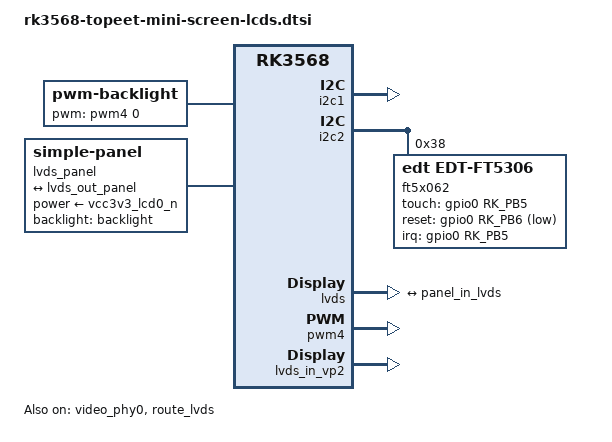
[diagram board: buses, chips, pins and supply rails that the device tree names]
#define LCD_TYPE_MIPI       //in vp 1
//#define LCD_TYPE_LVDS_10_1_1024X600  //in vp 2
//#define LCD_TYPE_LVDS_10_1_1280X800_gt9271 //in vp 2
#define LCD_TYPE_LVDS_7_0   //in vp 2
//#define LCD_TYPE_EDP_VGA  //in vp 0
#define LCD_TYPE_HDMI_VP0   //hdmi in vp 0
//#define LCD_TYPE_HDMI_VP1   //hdmi in vp 1


/ { 
        backlight: backlight {
                compatible = "pwm-backlight";
                brightness-levels = <
                          0  20  20  21  21  22  22  23
                         23  24  24  25  25  26  26  27
                         27  28  28  29  29  30  30  31
                         31  32  32  33  33  34  34  35
                         35  36  36  37  37  38  38  39
                         40  41  42  43  44  45  46  47
                         48  49  50  51  52  53  54  55
                         56  57  58  59  60  61  62  63
                         64  65  66  67  68  69  70  71
                         72  73  74  75  76  77  78  79
                         80  81  82  83  84  85  86  87
                         88  89  90  91  92  93  94  95
                         96  97  98  99 100 101 102 103
                        104 105 106 107 108 109 110 111
                        112 113 114 115 116 117 118 119
                        120 121 122 123 124 125 126 127
                        128 129 130 131 132 133 134 135
                        136 137 138 139 140 141 142 143
                        144 145 146 147 148 149 150 151
                        152 153 154 155 156 157 158 159
                        160 161 162 163 164 165 166 167
                        168 169 170 171 172 173 174 175
                        176 177 178 179 180 181 182 183
                        184 185 186 187 188 189 190 191
                        192 193 194 195 196 197 198 199
                        200 201 202 203 204 205 206 207
                        208 209 210 211 212 213 214 215
                        216 217 218 219 220 221 222 223
                        224 225 226 227 228 229 230 231
                        232 233 234 235 236 237 238 239
                        240 241 242 243 244 245 246 247
                        248 249 250 251 252 253 254 255
                >;
                default-brightness-level = <200>;
        };

   lvds_panel: panel {
		compatible = "simple-panel";
		status = "disabled";
		backlight = <&backlight>;
		power-supply = <&vcc3v3_lcd0_n>;
		enable-delay-ms = <20>;
		prepare-delay-ms = <20>;
		unprepare-delay-ms = <20>;
		disable-delay-ms = <20>;  		
		width-mm = <217>;
		height-mm = <136>;
    };
};

&i2c1 {
    status = "okay";
	ft5x061:ft5x06@38 {
				status = "disabled";
				compatible = "edt,edt-ft5306";
				reg = <0x38>;
				touch-gpio = <&gpio0 RK_PB5 IRQ_TYPE_EDGE_RISING>;
				interrupt-parent = <&gpio0>;
				interrupts = <RK_PB5 IRQ_TYPE_LEVEL_LOW>;
				reset-gpio = <&gpio0 RK_PB6 GPIO_ACTIVE_LOW>;
				touchscreen-size-x = <800>;
				touchscreen-size-y = <1280>;
              
    };
};

&i2c2 {
    status = "okay";
    pinctrl-0 = <&i2c2m1_xfer>;
	ft5x062:ft5x06@38 {
				status = "disabled";
				compatible = "edt,edt-ft5306";
				reg = <0x38>;
				touch-gpio = <&gpio0 RK_PB5 IRQ_TYPE_EDGE_RISING>;
				interrupt-parent = <&gpio0>;
				interrupts = <RK_PB5 IRQ_TYPE_LEVEL_LOW>;
				reset-gpio = <&gpio0 RK_PB6 GPIO_ACTIVE_LOW>;
				touchscreen-size-x = <800>;
				touchscreen-size-y = <1280>;
               
    };

	gt9xx:gt9xx_ts@5d {
                compatible = "goodix,gt9xx";
                reg = <0x5d>;
                interrupt-parent = <&gpio0>;
                interrupts = <RK_PB5 IRQ_TYPE_LEVEL_LOW>;
			    pinctrl-names = "default";
        		pinctrl-0 = <&gt9xx_pins>;
                reset-gpio = <&gpio0 RK_PB6 GPIO_ACTIVE_LOW>;
                touch-gpio = <&gpio0 RK_PB5 IRQ_TYPE_EDGE_RISING>;
                status = "disabled";
                tp-size = <911>;
                max-x = <1024>;
                max-y = <600>;

        };

	gt9271:gt9271_ts@5d {

                compatible = "goodix,gt9271";
                reg = <0x5d>;
                interrupt-parent = <&gpio0>;
                interrupts = <RK_PB5 IRQ_TYPE_LEVEL_LOW>;
                pinctrl-names = "default";
                pinctrl-0 = <&gt9xx_pins>;
                reset-gpio = <&gpio0 RK_PB6 GPIO_ACTIVE_LOW>;
                touch-gpio = <&gpio0 RK_PB5 IRQ_TYPE_EDGE_RISING>;
                status = "disabled";
				tp-size = <9271>;
			    max-x = <1280>;
  			    max-y = <800>;
        };


};

&pinctrl {
	gt9xx {
		gt9xx_pins: gt9xx-pins {
			rockchip,pins =
				<0 RK_PB5 0 &pcfg_pull_up>,
                <0 RK_PB6 0 &pcfg_pull_none>;
		};
	};
};


#if  defined(LCD_TYPE_LVDS_7_0)
&lvds_panel{
	status = "okay";
        bus-format = <MEDIA_BUS_FMT_RGB666_1X7X3_SPWG>;
        display-timings {
            native-mode = <&lvds_timing0>;
            lvds_timing0: lvds-timing0 {
                clock-frequency = <71900000>;
                hactive = <800>;
                vactive = <1280>;
                hback-porch = <24>;//<100>;
                hfront-porch = <72>;//<1580>;
                vback-porch = <10>;//<25>;
                vfront-porch = <12>;//<10>;
                hsync-len = <24>;//<10>;
                vsync-len = <2>;//<4>;
                hsync-active = <0>;
                vsync-active = <0>;
                de-active = <0>;
                pixelclk-active = <0>;
            };
        };
        ports {
			#address-cells = <1>;
			#size-cells = <0>;
			port@0 {
				reg = <0>;
				dual-lvds-even-pixels;
				panel_in_lvds: endpoint {
					remote-endpoint = <&lvds_out_panel>;
				};
			};
		};
};
&lvds {
	status = "disabled";
    
	ports {
		port@1 {
			reg = <1>;
			lvds_out_panel: endpoint {
				remote-endpoint = <&panel_in_lvds>;
			};
		};
	};
};

&pwm4{
    status = "okay";
};

&backlight {
    status = "okay";
    pwms = <&pwm4 0 25000 0>;
};

&lvds {
    status = "okay";
};

&lvds_in_vp1{
    status = "disabled";
};
&lvds_in_vp2 {
	status = "okay";
};
&video_phy0{
    status="okay";
};
&route_lvds{
   // logo,rotate = <0>;
    status = "okay";
    connect = <&vp2_out_lvds>;
};

&ft5x062
{
    status = "okay";
};

#elif defined(LCD_TYPE_LVDS_10_1_1024X600) 
&lvds_panel {
	status = "okay";
        bus-format = <MEDIA_BUS_FMT_RGB666_1X7X3_SPWG>;
        display-timings { 
			native-mode = <&lvds_timing0>; 
			lvds_timing0: lvds-timing0 { 
				clock-frequency = <53000000>; 
				hactive = <1024>; 
				vactive = <600>; 
				hback-porch = <160>;//<100>; 
				hfront-porch = <24>;//<1580>; 
				vback-porch = <24>;//<25>; 
				vfront-porch = <2>;//<10>; 
				hsync-len = <116>;//<10>; DRM_PANEL_SIMPLE
                vsync-len = <3>;
                hsync-active = <0>;
				vsync-active = <0>;
				de-active = <0>;
				pixelclk-active = <0>;
				}; 
		}; 
        ports {
			#address-cells = <1>;
			#size-cells = <0>;
			port@0 {
				reg = <0>;
				dual-lvds-even-pixels;
				panel_in_lvds: endpoint {
					remote-endpoint = <&lvds_out_panel>;
				};
			};
		};
};
&lvds {
	status = "disabled";
    
	ports {
		port@1 {
			reg = <1>;
			lvds_out_panel: endpoint {
				remote-endpoint = <&panel_in_lvds>;
			};
		};
	};
};
&pwm4{
    status = "okay";
};

&backlight {
    status = "okay";
    pwms = <&pwm4 0 25000 0>;
};
&lvds {
    status = "okay";
};

&lvds_in_vp1{
    status = "disabled";
};

&lvds_in_vp2 {
	status = "okay";
};

&video_phy0{
    status="okay";
};

&route_lvds{
   // logo,rotate = <0>;
    status = "okay";
    connect = <&vp2_out_lvds>;
};

&gt9xx
{
    status = "okay";
};
#elif defined(LCD_TYPE_LVDS_10_1_1280X800_gt9271)
&lvds_panel {
	status = "okay";
        bus-format = <MEDIA_BUS_FMT_RGB888_1X7X4_SPWG>;
          display-timings { 
			native-mode = <&lvds_timing0>; 
			lvds_timing0: lvds-timing0 { 
				clock-frequency = <82421000>; 
				hactive = <1280>; 
				vactive = <800>; 
				hback-porch = <88>;//<100>; 
				hfront-porch = <132>;//<1580>; 
				vback-porch = <23>;//<25>; 
				vfront-porch = <49>;//<10>; 
				hsync-len = <40>;//<10>; DRM_PANEL_SIMPLE
                vsync-len = <20>;
                hsync-active = <0>;
				vsync-active = <0>;
				de-active = <0>;
				pixelclk-active = <0>;
				}; 
		}; 
        ports {
			#address-cells = <1>;
			#size-cells = <0>;
			port@0 {
				reg = <0>;
				dual-lvds-even-pixels;
				panel_in_lvds: endpoint {
					remote-endpoint = <&lvds_out_panel>;
				};
			};
		};
};
&lvds {
	status = "disabled";
    
	ports {
		port@1 {
			reg = <1>;
			lvds_out_panel: endpoint {
				remote-endpoint = <&panel_in_lvds>;
			};
		};
	};
};

&pwm4{
    status = "okay";
};

&backlight {
    status = "okay";
    pwms = <&pwm4 0 25000 0>;
};

&lvds {
    status = "okay";
};

&lvds_in_vp1{
    status = "disabled";
};
&lvds_in_vp2 {
	status = "okay";
};
&video_phy0{
    status="okay";
};
&route_lvds{
   // logo,rotate = <0>;
    status = "okay";
    connect = <&vp2_out_lvds>;
};

&gt9271
{
    status = "okay";
};
#elif defined(LCD_TYPE_MIPI)
&dsi1 {
        status = "disabled";
        //rockchip,lane-rate = <1000>;
        dsi1_panel: panel@0 {
                status = "disabled";
                compatible = "simple-panel-dsi";
                power-supply = <&vcc3v3_lcd0_n>;
                reg = <0>;
                backlight = <&backlight>;
                reset-delay-ms = <60>;
                enable-delay-ms = <60>;
                prepare-delay-ms = <60>;
                unprepare-delay-ms = <60>;
                disable-delay-ms = <60>;
                dsi,flags = <(MIPI_DSI_MODE_VIDEO | MIPI_DSI_MODE_VIDEO_BURST |
                        MIPI_DSI_MODE_LPM | MIPI_DSI_MODE_EOT_PACKET)>;
                dsi,format = <MIPI_DSI_FMT_RGB888>;
                dsi,lanes  = <4>;
                panel-init-sequence = [
                        29 00 03 E0 AB BA
                        29 00 03 E1 BA AB
                        15 00 02 B0 00
                        29 00 05 B1 10 01 47 FF
                        29 00 07 B2 0C 0E 04 14 14 14
                        29 00 04 B3 56 D3 00
                        29 00 04 B4 22 30 04
                        15 00 02 B5 00
                        29 00 08 B6 B0 00 00 10 00 10 00
                        29 00 09 B7 0E 00 FF 08 08 FF FF 00
                        29 00 08 B8 05 12 29 49 48 00 00
                        29 00 27 B9 4D 42 38 31 33 27 2F 1B 36 35 35 53 41 49 3D 3D 33 29 26 4C 42 39 31 33 27 2F 1B 36 35 35 53 41 49 3D 3D 33 29 26
                        29 00 09 BA 00 00 00 44 24 00 00 00
                        29 00 04 BB 76 00 00
                        29 00 03 BC 00 00
                        29 00 06 BD FF 00 00 00 00
                        15 00 02 BE 00
                        29 00 11 C0 98 76 12 34 33 33 44 44 06 04 8A 04 0F 00 00 00
                        29 00 0B C1 53 94 02 85 06 04 8A 04 54 00
                        29 00 0D C2 37 09 08 89 08 10 22 21 44 BB 18 00
                        29 00 17 C3 9C 1D 1E 1F 10 12 0C 0E 05 24 24 24 24 24 24 07 24 24 24 24 24 24
                        29 00 17 C4 1C 1D 1E 1F 11 13 0D 0F 04 24 24 24 24 24 24 06 24 24 24 24 24 24
                        29 00 04 C5 E8 85 76
                        29 00 03 C6 20 20
                        29 00 17 C7 41 01 0D 11 09 15 19 4F 10 D7 CF 19 1B 1D 03 02 25 30 00 03 FF 00
                        29 00 07 C8 61 00 31 42 54 16
                        29 00 06 C9 A1 22 FF Cd 23
                        29 00 03 CA 4B 43
                        29 00 05 CC 2E 02 04 08
                        29 00 09 CD 0E 64 64 20 1E 6B 06 83
                        29 00 04 D0 27 10 80
                        29 00 05 D1 00 0D FF 0F
                        29 00 05 D2 E3 2B 38 00
                        29 00 0C D4 00 01 00 0E 04 44 08 10 00 07 00
                        15 00 02 D5 00
                        29 00 03 D6 00 00
                        29 00 05 D7 00 00 00 00
                        29 00 04 E4 08 55 03
                        29 00 09 E6 00 01 FF FF FF FF FF FF
                        29 00 04 E7 00 00 00
                        29 00 08 E8 D5 FF FF FF 00 00 00
                        15 00 02 E9 FF
                        29 00 06 F0 12 03 20 00 FF
                        29 00 1B F1 A6 C8 EA E6 E4 CC E4 BE F0 B2 AA C7 FF 66 98 E3 87 C8 99 C8 8C BE 96 91 8F FF
                        15 00 02 F3 03
                        29 00 1B F4 FF FE FC FA F8 F4 F0 E8 E0 D0 C0 A0 80 7F 5F 3F 2F 1F 17 0F 0B 07 05 03 01 00
                        29 00 1B F5 FF FE FC FA F8 F4 F0 E8 E0 D0 C0 A0 80 7F 5F 3F 2F 1F 17 0F 0B 07 05 03 01 00
                        29 00 1B F6 FF FE FC FA F8 F4 F0 E8 E0 D0 C0 A0 80 7F 5F 3F 2F 1F 17 0F 0B 07 05 03 01 00
                        29 00 08 F7 00 00 00 00 00 00 00
                        29 00 08 F8 00 00 00 00 00 00 00
                        29 00 08 F9 00 00 00 00 00 00 00
                        29 00 1A FA 00 84 12 21 48 48 21 12 84 69 69 5A A5 96 96 A5 5A B7 DE ED 7B 7B ED DE B7
                        29 00 18 FB 00 12 0F FF FF FF 00 38 40 08 70 0B 40 19 50 21 C0 27 60 2D 00 00 0F
                        29 00 03 E3 20 21
                        05 C8 01 11
                        05 14 01 29
                ];

                panel-exit-sequence = [
                        05 05 01 28
                        05 78 01 10
                ];
                disp_timings1: display-timings {
                        native-mode = <&dsi1_timing0>;
                        dsi1_timing0: timing0 {
                                clock-frequency = <60000000>;
                                hactive = <800>;
                                vactive = <1280>;
                                hfront-porch = <80>;
                                hsync-len = <20>;
                                hback-porch = <80>;
                                vfront-porch = <20>;
                                vsync-len = <4>;
                                vback-porch = <12>;
                                hsync-active = <0>;
                                vsync-active = <0>;
                                de-active = <0>;
                                pixelclk-active = <0>;
                        };
                };

                ports {
                        #address-cells = <1>;
                        #size-cells = <0>;

                        port@0 {
                                reg = <0>;
                                panel_in_dsi1: endpoint {
                                        remote-endpoint = <&dsi1_out_panel>;
                                };
                        };
                };
        };

        ports {
                #address-cells = <1>;
                #size-cells = <0>;

                port@1 {
                        reg = <1>;
                        dsi1_out_panel: endpoint {
                                remote-endpoint = <&panel_in_dsi1>;
                        };
                };
        };

};

&pwm5{
    status = "okay";
};
&backlight{
    pwms = <&pwm5 0 25000 0>;
    status = "okay";
};
&dsi1{
    status = "okay";
};
&dsi1_panel
{
    status = "okay";
};
&dsi1_in_vp0 {
    status = "disabled";
};
&dsi1_in_vp1 {
	status = "okay";
};
&ft5x061
{
    status = "okay";
};
&route_dsi1{
    status = "okay";
	connect = <&vp1_out_dsi1>;

};
&video_phy1{
    status = "okay";
};

#elif  defined(LCD_TYPE_HDMI_VP0)
&hdmi {
        status = "okay";
        rockchip,phy-table =
                <92812500  0x8009 0x0000 0x0270>,
                <165000000 0x800b 0x0000 0x026d>,
                <185625000 0x800b 0x0000 0x01ed>,
                <297000000 0x800b 0x0000 0x01ad>,
                <594000000 0x8029 0x0000 0x0088>,
                <000000000 0x0000 0x0000 0x0000>;
};
&hdmi_in_vp0 {
	status = "okay";
};
&hdmi_in_vp1 {
	status = "disabled";
};
&hdmi_sound {
	status = "okay";
};
&route_hdmi {
    status = "okay";
    connect = <&vp0_out_hdmi>;
};

#elif  defined(LCD_TYPE_HDMI_VP1)
&hdmi {
        status = "okay";
        rockchip,phy-table =
                <92812500  0x8009 0x0000 0x0270>,
                <165000000 0x800b 0x0000 0x026d>,
                <185625000 0x800b 0x0000 0x01ed>,
                <297000000 0x800b 0x0000 0x01ad>,
                <594000000 0x8029 0x0000 0x0088>,
                <000000000 0x0000 0x0000 0x0000>;
};
&hdmi_in_vp0 {
        status = "disabled";
};
&hdmi_in_vp1 {
        status = "okay";
};
&hdmi_sound {
        status = "okay";
};
&route_hdmi {
    status = "okay";
    connect = <&vp1_out_hdmi>;
};

/**********************************************************************/
#elif  defined(LCD_TYPE_EDP_VGA)
&edp {
        hpd-gpios = <&gpio0 RK_PC0 GPIO_ACTIVE_HIGH>;
        status = "okay";
};

&edp_phy {
        status = "okay";
};

&edp_in_vp0 {
        status = "okay";
};

&edp_in_vp1 {
        status = "disabled";
};
&route_edp {
        status = "okay";
        connect = <&vp0_out_edp>;
};

#endif
